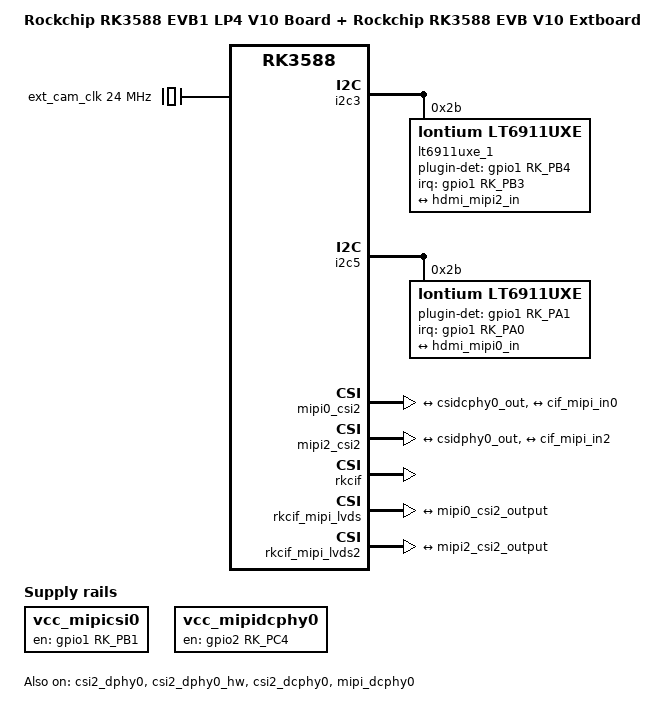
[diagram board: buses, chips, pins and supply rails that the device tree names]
// SPDX-License-Identifier: (GPL-2.0+ OR MIT)
/*
 * Copyright (c) 2022 Rockchip Electronics Co., Ltd.
 *
 */
/dts-v1/;

#include "rk3588-evb1-lp4.dtsi"
#include "rk3588-android.dtsi"

/ {
	model = "Rockchip RK3588 EVB1 LP4 V10 Board + Rockchip RK3588 EVB V10 Extboard";
	compatible = "rockchip,rk3588-evb1-lp4-v10-lt6911uxe", "rockchip,rk3588";

	vcc_mipicsi0: vcc-mipicsi0-regulator {
		compatible = "regulator-fixed";
		gpio = <&gpio1 RK_PB1 GPIO_ACTIVE_HIGH>;
		pinctrl-names = "default";
		pinctrl-0 = <&mipicsi0_pwr>;
		regulator-name = "vcc_mipicsi0";
		enable-active-high;
		regulator-boot-on;
		regulator-always-on;
	};

	vcc_mipidcphy0: vcc-mipidcphy0-regulator {
		compatible = "regulator-fixed";
		gpio = <&gpio2 RK_PC4 GPIO_ACTIVE_HIGH>;
		pinctrl-names = "default";
		pinctrl-0 = <&mipidcphy0_pwr>;
		regulator-name = "vcc_mipidcphy0";
		enable-active-high;
		regulator-boot-on;
		regulator-always-on;
	};

	ext_cam_clk: external-camera-clock {
		compatible = "fixed-clock";
		clock-frequency = <24000000>;
		clock-output-names = "CLK_CAMERA_24MHZ";
		#clock-cells = <0>;
	};
};

&csi2_dphy0 {
	status = "okay";

	ports {
		#address-cells = <1>;
		#size-cells = <0>;
		port@0 {
			reg = <0>;
			#address-cells = <1>;
			#size-cells = <0>;

			hdmi_mipi2_in: endpoint@1 {
				reg = <1>;
				remote-endpoint = <&lt6911uxe_out1>;
				data-lanes = <1 2 3 4>;
			};
		};
		port@1 {
			reg = <1>;
			#address-cells = <1>;
			#size-cells = <0>;

			csidphy0_out: endpoint@0 {
				reg = <0>;
				remote-endpoint = <&mipi2_csi2_input>;
			};
		};
	};
};

&csi2_dphy0_hw {
	status = "okay";
};

&csi2_dcphy0 {
	status = "okay";

	ports {
		#address-cells = <1>;
		#size-cells = <0>;
		port@0 {
			reg = <0>;
			#address-cells = <1>;
			#size-cells = <0>;

			hdmi_mipi0_in: endpoint@1 {
				reg = <1>;
				remote-endpoint = <&lt6911uxe_out0>;
				data-lanes = <1 2 3 4>;
			};
		};
		port@1 {
			reg = <1>;
			#address-cells = <1>;
			#size-cells = <0>;

			csidcphy0_out: endpoint@0 {
				reg = <0>;
				remote-endpoint = <&mipi0_csi2_input>;
			};
		};
	};
};

&i2c3 {
	status = "okay";

	lt6911uxe_1: lt6911uxe_1@2b {
		compatible = "lontium,lt6911uxe";
		status = "okay";
		reg = <0x2b>;
		clocks = <&ext_cam_clk>;
		clock-names = "xvclk";
		power-domains = <&power RK3588_PD_VI>;
		pinctrl-names = "default";
		pinctrl-0 = <&lt6911uxe_pin_1>;
		interrupt-parent = <&gpio1>;
		interrupts = <RK_PB3 IRQ_TYPE_LEVEL_LOW>;
		// reset-gpios = <&gpio1 RK_PB1 GPIO_ACTIVE_LOW>;
		// power-gpios = <&gpio1 RK_PA6 GPIO_ACTIVE_HIGH>;
		plugin-det-gpios = <&gpio1 RK_PB4 GPIO_ACTIVE_HIGH>;
		rockchip,camera-module-index = <0>;
		rockchip,camera-module-facing = "back";
		rockchip,camera-module-name = "HDMI-MIPI2";
		rockchip,camera-module-lens-name = "LT6911UXE-2";
		port {
			lt6911uxe_out1: endpoint {
				remote-endpoint = <&hdmi_mipi2_in>;
				data-lanes = <1 2 3 4>;
			};
		};
	};
};

&i2c5 {
	status = "okay";

	lt6911uxe: lt6911uxe@2b {
		compatible = "lontium,lt6911uxe";
		status = "okay";
		reg = <0x2b>;
		clocks = <&ext_cam_clk>;
		clock-names = "xvclk";
		power-domains = <&power RK3588_PD_VI>;
		pinctrl-names = "default";
		pinctrl-0 = <&lt6911uxe_pin>;
		interrupt-parent = <&gpio1>;
		interrupts = <RK_PA0 IRQ_TYPE_LEVEL_LOW>;
		// reset-gpios = <&gpio1 RK_PB1 GPIO_ACTIVE_LOW>;
		// power-gpios = <&gpio1 RK_PA6 GPIO_ACTIVE_HIGH>;
		// plugin-det-gpios = <&gpio1 RK_PB4 GPIO_ACTIVE_LOW>;
		plugin-det-gpios = <&gpio1 RK_PA1 GPIO_ACTIVE_HIGH>;
		rockchip,camera-module-index = <1>;
		rockchip,camera-module-facing = "front";
		rockchip,camera-module-name = "HDMI-MIPI0";
		rockchip,camera-module-lens-name = "LT6911UXC-0";

		port {
			lt6911uxe_out0: endpoint {
				remote-endpoint = <&hdmi_mipi0_in>;
				data-lanes = <1 2 3 4>;
			};
		};
	};
};

&mipi_dcphy0 {
	status = "okay";
};

&mipi0_csi2 {
	status = "okay";

	ports {
		#address-cells = <1>;
		#size-cells = <0>;

		port@0 {
			reg = <0>;
			#address-cells = <1>;
			#size-cells = <0>;

			mipi0_csi2_input: endpoint@1 {
				reg = <1>;
				remote-endpoint = <&csidcphy0_out>;
			};
		};

		port@1 {
			reg = <1>;
			#address-cells = <1>;
			#size-cells = <0>;

			mipi0_csi2_output: endpoint@0 {
				reg = <0>;
				remote-endpoint = <&cif_mipi_in0>;
			};
		};
	};
};

&mipi2_csi2 {
	status = "okay";

	ports {
		#address-cells = <1>;
		#size-cells = <0>;

		port@0 {
			reg = <0>;
			#address-cells = <1>;
			#size-cells = <0>;

			mipi2_csi2_input: endpoint@1 {
				reg = <1>;
				remote-endpoint = <&csidphy0_out>;
			};
		};

		port@1 {
			reg = <1>;
			#address-cells = <1>;
			#size-cells = <0>;

			mipi2_csi2_output: endpoint@0 {
				reg = <0>;
				remote-endpoint = <&cif_mipi_in2>;
			};
		};
	};
};

&rkcif {
	status = "okay";
};

&rkcif_mipi_lvds {
	status = "okay";

	port {
		cif_mipi_in0: endpoint {
			remote-endpoint = <&mipi0_csi2_output>;
		};
	};
};

&rkcif_mipi_lvds2 {
	status = "okay";

	port {
		cif_mipi_in2: endpoint {
			remote-endpoint = <&mipi2_csi2_output>;
		};
	};
};

&rkcif_mmu {
	status = "okay";
};

&pinctrl {
	hdmiin {
		lt6911uxe_pin: lt6911uxe-pin {
			rockchip,pins = <1 RK_PA0 RK_FUNC_GPIO &pcfg_pull_none>,
					<1 RK_PA1 RK_FUNC_GPIO &pcfg_pull_none>;
		};

		lt6911uxe_pin_1: lt6911uxe-pin-1 {
			rockchip,pins = <1 RK_PB3 RK_FUNC_GPIO &pcfg_pull_none>,
					<1 RK_PB4 RK_FUNC_GPIO &pcfg_pull_none>;
		};
	};
};
